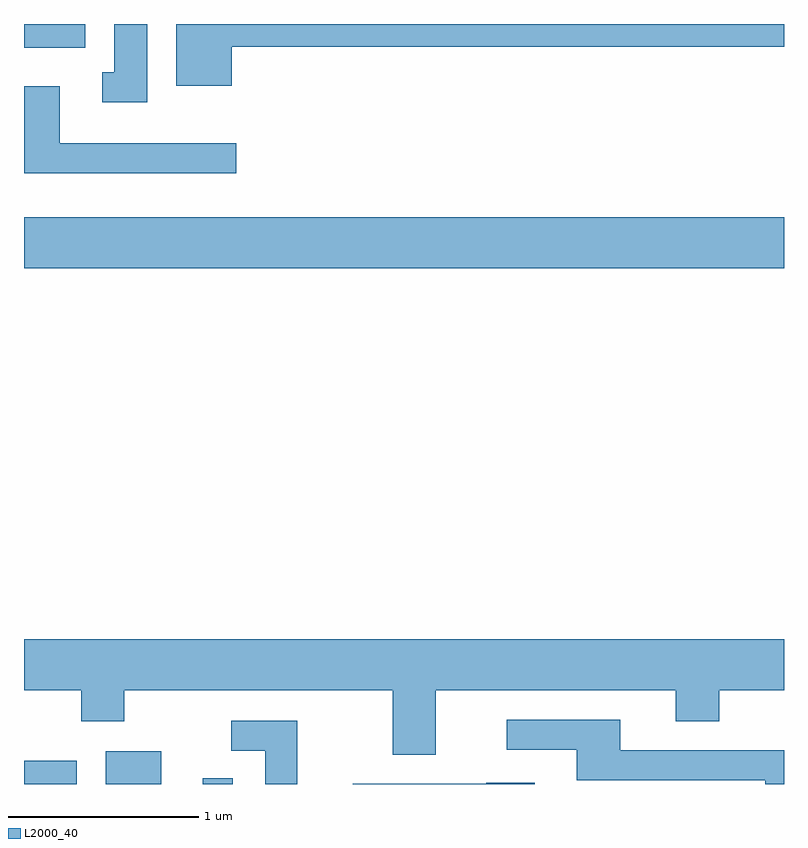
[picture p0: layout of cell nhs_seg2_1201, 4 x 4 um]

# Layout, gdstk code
import gdstk
lib = gdstk.Library(unit=1e-6, precision=1e-09)
def R(c, l, rs):  # rectangles x0, y0, x1, y1
    for r in rs: c.add(gdstk.rectangle(r[:2], r[2:], *l))
def P(c, l, *ps):  # polygons
    for p in ps: c.add(gdstk.Polygon(p, *l))
L2000_40 = (2000, 40)

nhs_seg2_1201 = lib.new_cell('nhs_seg2_1201')
R(nhs_seg2_1201, L2000_40, [(219.611,1067.802,219.889,1067.924), (220.041,1067.802,220.334,1067.974), (220.551,1067.802,220.709,1067.833), (219.611,1070.516,223.611,1070.784), (219.611,1071.676,219.934,1071.802)])
P(nhs_seg2_1201, L2000_40, [(220.259,1071.802),(220.086,1071.802),(220.086,1071.549),(220.023,1071.549),(220.023,1071.391),(220.259,1071.391)],
  [(220.704,1071.681),(223.611,1071.681),(223.611,1071.802),(220.411,1071.802),(220.411,1071.476),(220.704,1071.476)],
  [(220.728,1071.174),(219.799,1071.174),(219.799,1071.474),(219.611,1071.474),(219.611,1071.016),(220.728,1071.016)],
  [(221.779,1068.296),(223.041,1068.296),(223.041,1068.131),(223.269,1068.131),(223.269,1068.296),(223.611,1068.296),(223.611,1068.564),(219.611,1068.564),(219.611,1068.296),(219.911,1068.296),(219.911,1068.131),(220.139,1068.131),(220.139,1068.296),(221.551,1068.296),(221.551,1067.956),(221.779,1067.956)],
  [(223.611,1067.979),(222.749,1067.979),(222.749,1068.139),(222.153,1068.139),(222.153,1067.981),(222.521,1067.981),(222.521,1067.821),(223.511,1067.821),(223.511,1067.802),(223.611,1067.802)],
  [(221.049,1068.134),(220.703,1068.134),(220.703,1067.976),(220.881,1067.976),(220.881,1067.802),(221.049,1067.802)],
  [(222.299,1067.809),(222.045,1067.809),(222.045,1067.804),(221.341,1067.804),(221.341,1067.802),(222.299,1067.802)])

lib.write_gds('nhs_seg2_1201.gds')
